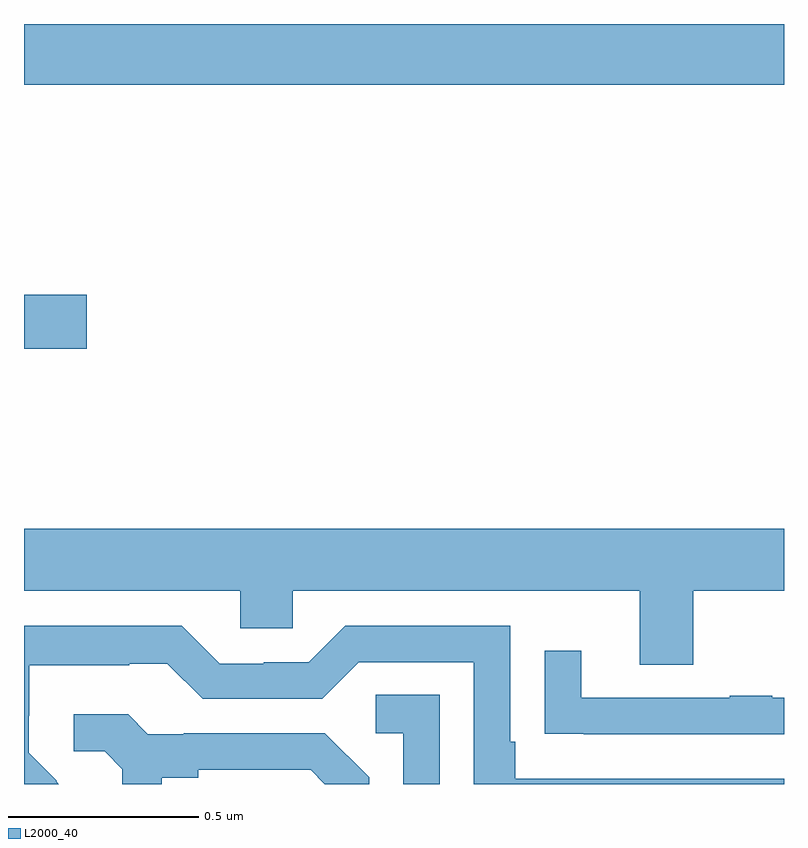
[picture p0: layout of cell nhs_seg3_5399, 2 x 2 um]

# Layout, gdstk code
import gdstk
lib = gdstk.Library(unit=1e-6, precision=1e-09)
def R(c, l, rs):  # rectangles x0, y0, x1, y1
    for r in rs: c.add(gdstk.rectangle(r[:2], r[2:], *l))
def P(c, l, *ps):  # polygons
    for p in ps: c.add(gdstk.Polygon(p, *l))
L2000_40 = (2000, 40)

nhs_seg3_5399 = lib.new_cell('nhs_seg3_5399')
R(nhs_seg3_5399, L2000_40, [(178,709.546,178.165,709.688), (178,710.24,180,710.4)])
P(nhs_seg3_5399, L2000_40, [(179.761,708.908),(180,708.908),(180,709.072),(178,709.072),(178,708.908),(178.569,708.908),(178.569,708.81),(178.707,708.81),(178.707,708.908),(179.621,708.908),(179.621,708.714),(179.761,708.714)],
  [(178.085,708.407),(178.086,708.408),(178.012,708.482),(178.012,708.579),(178.014,708.579),(178.014,708.713),(178.277,708.713),(178.277,708.717),(178.377,708.717),(178.47,708.624),(178.785,708.624),(178.881,708.72),(179.184,708.72),(179.184,708.4),(180,708.4),(180,708.414),(179.293,708.414),(179.293,708.511),(179.28,708.511),(179.28,708.816),(178.845,708.816),(178.749,708.72),(178.631,708.72),(178.631,708.717),(178.515,708.717),(178.415,708.817),(178,708.817),(178,708.4),(178.092,708.4)],
  [(180,708.627),(179.969,708.627),(179.969,708.632),(179.857,708.632),(179.857,708.627),(179.467,708.627),(179.467,708.751),(179.371,708.751),(179.371,708.532),(179.473,708.532),(179.473,708.531),(180,708.531)],
  [(179.094,708.635),(178.926,708.635),(178.926,708.534),(178.998,708.534),(178.998,708.4),(179.094,708.4)],
  [(178.363,708.416),(178.459,708.416),(178.459,708.438),(178.754,708.438),(178.792,708.4),(178.908,708.4),(178.908,708.418),(178.792,708.534),(178.42,708.534),(178.42,708.531),(178.326,708.531),(178.274,708.583),(178.131,708.583),(178.131,708.486),(178.212,708.486),(178.259,708.439),(178.259,708.4),(178.363,708.4)])

lib.write_gds('nhs_seg3_5399.gds')
